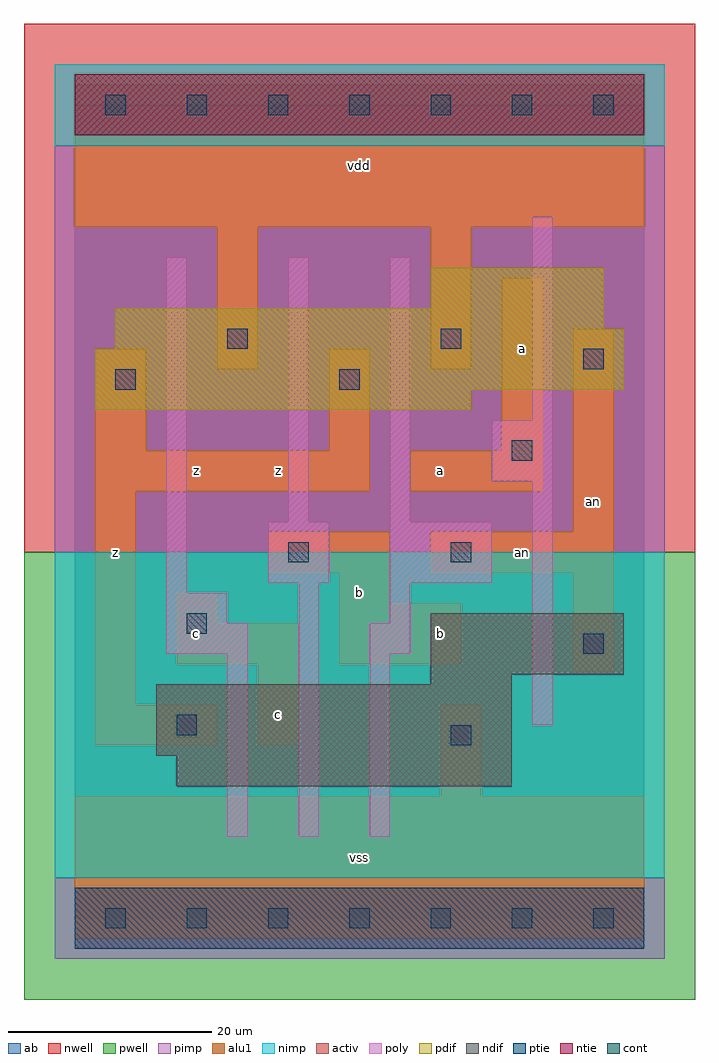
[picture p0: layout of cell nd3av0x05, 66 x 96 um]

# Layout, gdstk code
import gdstk
lib = gdstk.Library(unit=1e-6, precision=1e-09)
def R(c, l, rs):  # rectangles x0, y0, x1, y1
    for r in rs: c.add(gdstk.rectangle(r[:2], r[2:], *l))
def A(c, l, x, y, w, h, nx, ny, dx, dy):  # array of equal rectangles
    R(c, l, [(x+i*dx, y+j*dy, x+i*dx+w, y+j*dy+h) for i in range(nx) for j in range(ny)])
ndif = (3, 0)
pdif = (4, 0)
ntie = (5, 0)
ptie = (6, 0)
cont = (25, 0)
pwell = (41, 0)
nwell = (42, 0)
activ = (43, 0)
pimp = (44, 0)
nimp = (45, 0)
poly = (46, 0)
alu1 = (49, 0)
ab = (63, 0)

nd3av0x05 = lib.new_cell('nd3av0x05')
R(nd3av0x05, ndif, [(10,13,43,16), (8,16,43,23), (35,23,43,24), (35,24,54,30)])
R(nd3av0x05, pdif, [(2,50,39,52), (2,52,54,56), (4,56,54,58), (4,58,52,60), (35,60,52,64)])
R(nd3av0x05, ntie, [(0,77,56,83)])
R(nd3av0x05, ptie, [(0,-3,56,3)])
A(nd3av0x05, cont, 3, -1, 2, 2, 7, 2, 8, 80)
R(nd3av0x05, cont, [(37,17,39,19), (10,18,12,20), (50,26,52,28), (11,28,13,30), (21,35,23,37), (37,35,39,37), (43,45,45,47), (4,52,6,54), (26,52,28,54), (50,54,52,56), (15,56,17,58), (36,56,38,58)])
R(nd3av0x05, pwell, [(-5,-8,61,36)])
R(nd3av0x05, nwell, [(-5,36,61,88)])
R(nd3av0x05, activ, [(0,-3,56,3), (10,13,43,16), (8,16,43,23), (35,23,43,24), (35,24,54,30), (2,50,39,52), (2,52,54,56), (4,56,54,58), (4,58,52,60), (35,60,52,64), (0,77,56,83)])
R(nd3av0x05, pimp, [(-2,-4,58,4), (-2,36,58,76)])
R(nd3av0x05, nimp, [(-2,4,58,36), (-2,76,58,84)])
R(nd3av0x05, poly, [(15,8,17,26), (22,8,24,33), (29,8,31,26), (45,19,47,43), (9,26,17,29), (29,26,33,29), (9,29,15,32), (31,29,33,33), (9,32,11,65), (19,33,25,39), (31,33,41,39), (21,39,23,65), (31,39,33,65), (41,43,47,49), (45,49,47,69)])
R(nd3av0x05, alu1, [(0,-2,56,12), (36,12,40,21), (2,17,14,21), (18,17,22,25), (2,21,6,42), (49,24,53,34), (10,25,22,29), (26,25,38,31), (10,29,14,32), (26,31,31,34), (19,34,31,38), (35,34,53,38), (49,38,53,58), (2,42,29,46), (33,42,46,46), (2,46,7,56), (25,46,29,56), (42,46,46,63), (14,54,18,68), (35,54,39,68), (0,68,56,82)])
R(nd3av0x05, ab, [(0,0,56,80)])
nd3av0x05.add(gdstk.Label('an', (44,36), layer=49, texttype=0))
nd3av0x05.add(gdstk.Label('an', (51,41), layer=49, texttype=0))
nd3av0x05.add(gdstk.Label('z', (4,36), layer=49, texttype=0))
nd3av0x05.add(gdstk.Label('c', (20,20), layer=49, texttype=0))
nd3av0x05.add(gdstk.Label('c', (12,28), layer=49, texttype=0))
nd3av0x05.add(gdstk.Label('z', (20,44), layer=49, texttype=0))
nd3av0x05.add(gdstk.Label('z', (12,44), layer=49, texttype=0))
nd3av0x05.add(gdstk.Label('vss', (28,6), layer=49, texttype=0))
nd3av0x05.add(gdstk.Label('b', (28,32), layer=49, texttype=0))
nd3av0x05.add(gdstk.Label('b', (36,28), layer=49, texttype=0))
nd3av0x05.add(gdstk.Label('a', (36,44), layer=49, texttype=0))
nd3av0x05.add(gdstk.Label('vdd', (28,74), layer=49, texttype=0))
nd3av0x05.add(gdstk.Label('a', (44,56), layer=49, texttype=0))

lib.write_gds('nd3av0x05.gds')
